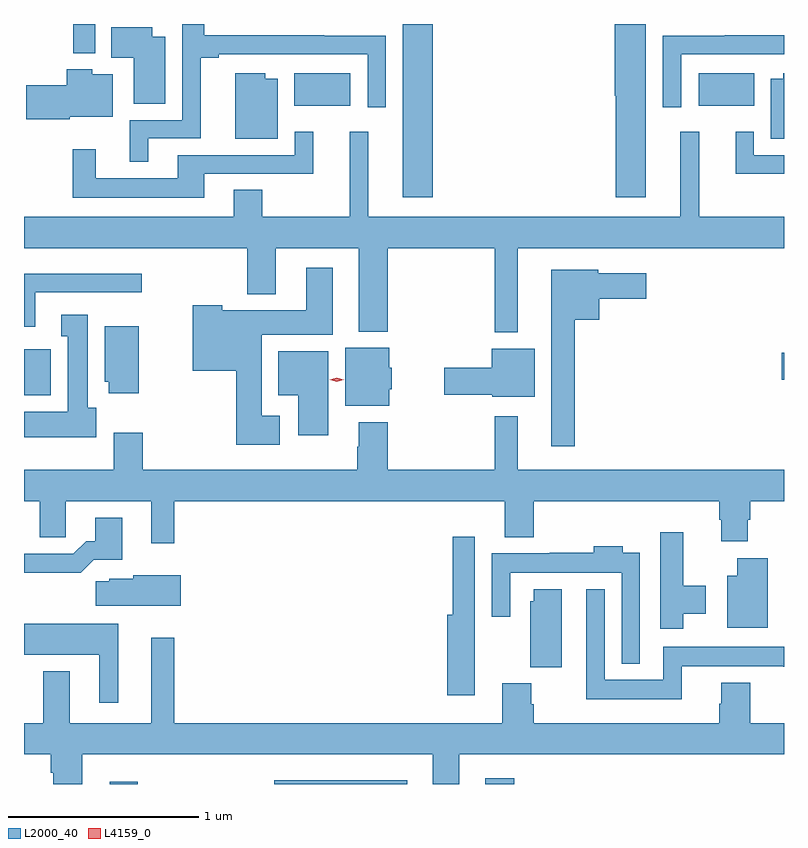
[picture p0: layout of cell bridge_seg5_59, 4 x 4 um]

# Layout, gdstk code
import gdstk
lib = gdstk.Library(unit=1e-6, precision=1e-09)
def R(c, l, rs):  # rectangles x0, y0, x1, y1
    for r in rs: c.add(gdstk.rectangle(r[:2], r[2:], *l))
def P(c, l, *ps):  # polygons
    for p in ps: c.add(gdstk.Polygon(p, *l))
L2000_40 = (2000, 40)
L4159_0 = (4159, 0)

bridge_seg5_59 = lib.new_cell('bridge_seg5_59')
R(bridge_seg5_59, L2000_40, [(756.314,884.575,756.461,884.587), (757.179,884.575,757.879,884.596), (758.291,884.575,758.444,884.605), (755.863,886.622,756.004,886.864), (759.852,886.702,759.863,886.844), (757.856,887.664,758.015,888.575), (757.286,888.146,757.579,888.316), (759.413,888.146,759.706,888.316), (756.121,888.422,756.237,888.575)])
P(bridge_seg5_59, L2000_40, [(759.136,888.575),(758.972,888.575),(758.972,888.198),(758.978,888.198),(758.978,887.664),(759.136,887.664)],
  [(756.517,887.973),(756.794,887.973),(756.794,888.397),(756.889,888.397),(756.889,888.417),(757.671,888.417),(757.671,888.138),(757.767,888.138),(757.767,888.513),(757.442,888.513),(757.442,888.515),(756.812,888.515),(756.812,888.574),(756.696,888.574),(756.696,888.069),(756.419,888.069),(756.419,887.849),(756.517,887.849)],
  [(756.607,888.508),(756.538,888.508),(756.538,888.559),(756.322,888.559),(756.322,888.398),(756.44,888.398),(756.44,888.154),(756.607,888.154)],
  [(759.321,888.417),(759.863,888.417),(759.863,888.515),(759.55,888.515),(759.55,888.513),(759.225,888.513),(759.225,888.138),(759.321,888.138)],
  [(756.105,888.086),(756.331,888.086),(756.331,888.31),(756.222,888.31),(756.222,888.337),(756.089,888.337),(756.089,888.252),(755.874,888.252),(755.874,888.074),(756.105,888.074)],
  [(757.198,888.286),(757.132,888.286),(757.132,888.316),(756.974,888.316),(756.974,887.972),(757.198,887.972)],
  [(759.863,888.316),(759.86,888.316),(759.86,888.286),(759.794,888.286),(759.794,887.972),(759.863,887.972)],
  [(758.461,887.396),(759.863,887.396),(759.863,887.56),(759.416,887.56),(759.416,888.007),(759.317,888.007),(759.317,887.56),(757.676,887.56),(757.676,888.007),(757.577,888.007),(757.577,887.56),(757.116,887.56),(757.116,887.702),(756.968,887.702),(756.968,887.56),(755.863,887.56),(755.863,887.396),(757.037,887.396),(757.037,887.153),(757.189,887.153),(757.189,887.396),(757.625,887.396),(757.625,886.955),(757.778,886.955),(757.778,887.396),(758.34,887.396),(758.34,886.952),(758.461,886.952)],
  [(756.811,887.787),(757.385,887.787),(757.385,888.007),(757.287,888.007),(757.287,887.883),(756.671,887.883),(756.671,887.764),(756.241,887.764),(756.241,887.917),(756.12,887.917),(756.12,887.66),(756.811,887.66)],
  [(759.863,887.883),(759.705,887.883),(759.705,888.007),(759.608,888.007),(759.608,887.787),(759.863,887.787)],
  [(757.21,886.513),(757.114,886.513),(757.114,886.94),(757.489,886.94),(757.489,887.293),(757.349,887.293),(757.349,887.068),(756.906,887.068),(756.906,887.095),(756.752,887.095),(756.752,886.751),(756.98,886.751),(756.98,886.361),(757.21,886.361)],
  [(758.761,887.018),(758.89,887.018),(758.89,887.129),(759.139,887.129),(759.139,887.263),(758.886,887.263),(758.886,887.281),(758.639,887.281),(758.639,886.353),(758.761,886.353)],
  [(755.923,887.163),(756.484,887.163),(756.484,887.26),(755.863,887.26),(755.863,886.982),(755.923,886.982)],
  [(756.244,886.554),(756.199,886.554),(756.199,887.044),(756.059,887.044),(756.059,886.931),(756.092,886.931),(756.092,886.534),(755.863,886.534),(755.863,886.4),(756.244,886.4)],
  [(756.466,886.984),(756.287,886.984),(756.287,886.692),(756.308,886.692),(756.308,886.632),(756.466,886.632)],
  [(757.786,886.653),(757.798,886.653),(757.798,886.767),(757.786,886.767),(757.786,886.87),(757.553,886.87),(757.553,886.565),(757.786,886.565)],
  [(758.551,886.867),(758.324,886.867),(758.324,886.766),(758.076,886.766),(758.076,886.624),(758.328,886.624),(758.328,886.613),(758.551,886.613)],
  [(757.465,886.852),(757.202,886.852),(757.202,886.622),(757.307,886.622),(757.307,886.41),(757.465,886.41)],
  [(756.655,886.064),(758.393,886.064),(758.393,885.875),(758.546,885.875),(758.546,886.064),(759.521,886.064),(759.521,885.966),(759.533,885.966),(759.533,885.852),(759.673,885.852),(759.673,885.966),(759.686,885.966),(759.686,886.064),(759.863,886.064),(759.863,886.228),(758.461,886.228),(758.461,886.51),(758.34,886.51),(758.34,886.228),(757.778,886.228),(757.778,886.48),(757.625,886.48),(757.625,886.349),(757.618,886.349),(757.618,886.228),(756.488,886.228),(756.488,886.423),(756.335,886.423),(756.335,886.228),(755.863,886.228),(755.863,886.064),(755.945,886.064),(755.945,885.874),(756.084,885.874),(756.084,886.064),(756.533,886.064),(756.533,885.843),(756.655,885.843)],
  [(756.231,885.756),(756.379,885.756),(756.379,885.976),(756.239,885.976),(756.239,885.853),(756.19,885.853),(756.123,885.786),(755.863,885.786),(755.863,885.688),(755.905,885.688),(755.905,885.686),(756.161,885.686)],
  [(759.334,885.47),(759.451,885.47),(759.451,885.618),(759.334,885.618),(759.334,885.901),(759.212,885.901),(759.212,885.393),(759.334,885.393)],
  [(758.236,885.362),(758.235,885.362),(758.235,885.877),(758.119,885.877),(758.119,885.466),(758.09,885.466),(758.09,885.042),(758.236,885.042)],
  [(759.105,885.793),(759.013,885.793),(759.013,885.826),(758.861,885.826),(758.861,885.793),(758.629,885.793),(758.629,885.79),(758.325,885.79),(758.325,885.456),(758.421,885.456),(758.421,885.686),(759.009,885.686),(759.009,885.209),(759.105,885.209)],
  [(759.778,885.763),(759.617,885.763),(759.617,885.67),(759.563,885.67),(759.563,885.398),(759.778,885.398)],
  [(756.688,885.673),(756.438,885.673),(756.438,885.655),(756.312,885.655),(756.312,885.641),(756.24,885.641),(756.24,885.512),(756.688,885.512)],
  [(758.692,885.601),(758.546,885.601),(758.546,885.537),(758.528,885.537),(758.528,885.19),(758.692,885.19)],
  [(759.326,885.194),(759.86,885.194),(759.86,885.192),(759.863,885.192),(759.863,885.298),(759.228,885.298),(759.228,885.124),(758.919,885.124),(758.919,885.601),(758.822,885.601),(758.822,885.02),(759.326,885.02)],
  [(756.358,885.418),(755.863,885.418),(755.863,885.254),(756.26,885.254),(756.26,885.003),(756.358,885.003)],
  [(756.17,884.732),(758.015,884.732),(758.015,884.575),(758.155,884.575),(758.155,884.732),(759.863,884.732),(759.863,884.896),(759.686,884.896),(759.686,885.109),(759.533,885.109),(759.533,884.997),(759.521,884.997),(759.521,884.896),(758.546,884.896),(758.546,884.996),(758.533,884.996),(758.533,885.105),(758.381,885.105),(758.381,884.896),(756.655,884.896),(756.655,885.346),(756.533,885.346),(756.533,884.896),(756.103,884.896),(756.103,885.169),(755.963,885.169),(755.963,884.896),(755.863,884.896),(755.863,884.732),(756.005,884.732),(756.005,884.633),(756.017,884.633),(756.017,884.575),(756.17,884.575)])
P(bridge_seg5_59, L4159_0, [(757.508,886.692),(757.471,886.702),(757.471,886.702),(757.471,886.703),(757.508,886.712),(757.546,886.703),(757.546,886.702),(757.546,886.702)])

lib.write_gds('bridge_seg5_59.gds')
